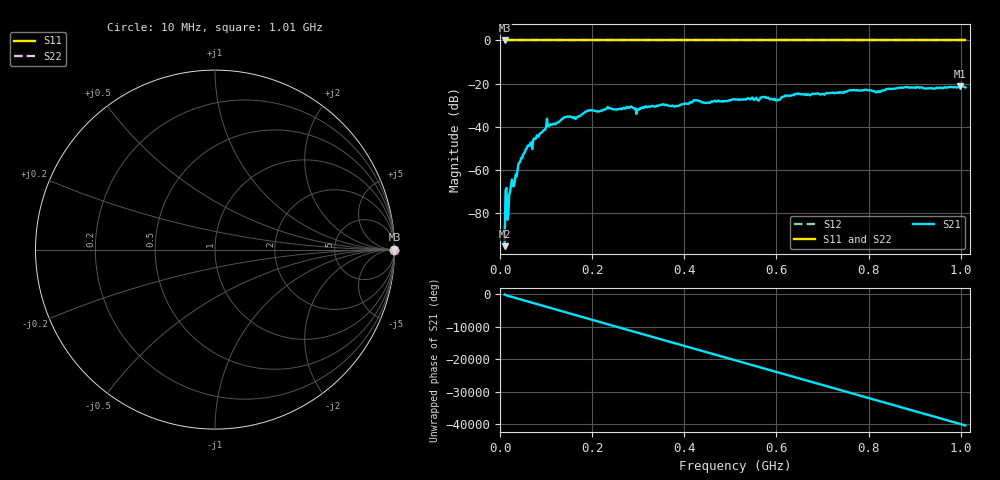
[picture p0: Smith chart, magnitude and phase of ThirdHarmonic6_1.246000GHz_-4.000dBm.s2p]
! 8/16/2025 1:16:32 PM
! C:\ANRITSUVNA\TEMP\TEMP.S2P
! CHANNEL.1
! TR.MEASUREMENT
! RAW.DATA
! RF.CORRECTION.OFF
! AVERAGING.OFF
! IF.BANDWIDTH: 5KHZ
! SWEEPTYPE:  FREQ.SWEEP(Linear)
! Reference Plane Port Info
! PORT:  PORT1  PORT2
! DISTANCE:  0  m  0  m
! TIME:  0  s  0  s
! PHASE.OFFSET:  0  deg.  0  deg.
! LOSS:  0  dB  0  dB
! REF.LOSS:  0  dB  0  dB
! REF.FREQ:  0  Hz  0  Hz
! Power Info
! POWER:  -20  dBm  -20  dBm
! EFF.POWER:  -20  dBm  -20  dBm
! SOURCE.ATTEN:  0  dB  0  dB
! TEST.ATTEN:  0  dB  0  dB
# GHZ S RI R 50.0
! FREQ.GHZ  S11RE  S11IM  S21RE  S21IM  S12RE  S12IM  S22RE  S22IM
!; PortSelection: Port_12
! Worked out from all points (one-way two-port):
!   501 points, 10 MHz to 1.01 GHz, reference 50 ohm
!   highest |S21| = -21.28 dB at 998 MHz (marker M1); lowest = -95.4 dB at 10 MHz (marker M2)
!   lowest |S11| = 0.0 dB at 10 MHz (marker M3)
!   |S11| at or under -10 dB: nowhere
!   |S22| runs from 0.0 to 0.0 dB; largest |S21 - S12| = 1.1
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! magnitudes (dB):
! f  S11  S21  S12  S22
! 10 MHz  0.0  -95.4  0.0  0.0
! 20 MHz  0.0  -71.6  0.0  0.0
! 24 MHz  0.0  -66.7  0.0  0.0
! 32 MHz  0.0  -65.3  0.0  0.0
! 42 MHz  0.0  -56.7  0.0  0.0
! 64 MHz  0.0  -48.9  0.0  0.0
! 104 MHz  0.0  -39.7  0.0  0.0
! 178 MHz  0.0  -34.3  0.0  0.0
! 192 MHz  0.0  -32.5  0.0  0.0
! 234 MHz  0.0  -30.8  0.0  0.0
! 286 MHz  0.0  -30.9  0.0  0.0
! 300 MHz  0.0  -32.1  0.0  0.0
! 344 MHz  0.0  -30.3  0.0  0.0
! 424 MHz  0.0  -27.8  0.0  0.0
! 510 MHz  0.0  -27.3  0.0  0.0
! 572 MHz  0.0  -26.2  0.0  0.0
! 602 MHz  0.0  -27.5  0.0  0.0
! 644 MHz  0.0  -24.7  0.0  0.0
! 678 MHz  0.0  -24.7  0.0  0.0
! 844 MHz  0.0  -22.4  0.0  0.0
! 998 MHz  0.0  -21.3  0.0  0.0
! 1.01 GHz  0.0  -21.8  0.0  0.0
